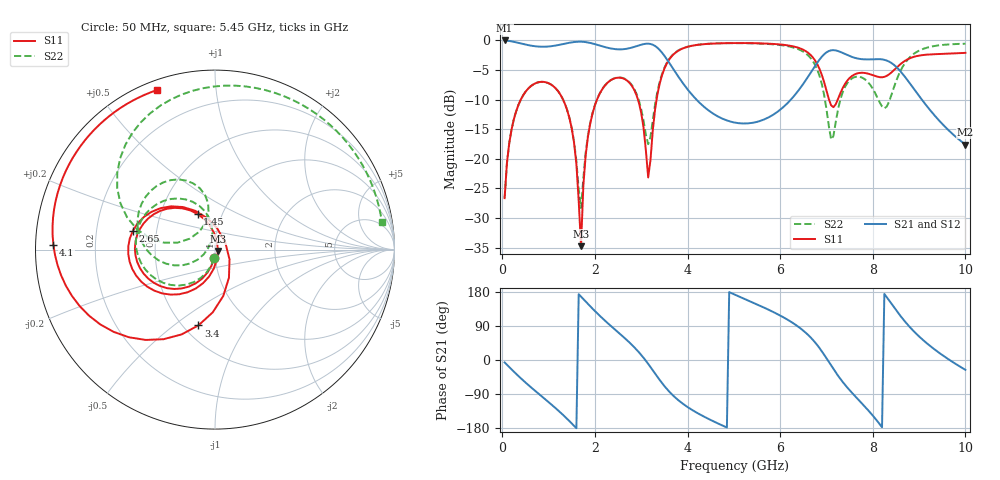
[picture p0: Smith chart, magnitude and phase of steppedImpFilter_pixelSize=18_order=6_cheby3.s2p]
! freq	dB(S11)	phase(S11)	dB(S12)	phase(S12)
!  dB(S21)	phase(S21)	dB(S22)	phase(S22)
!S-par simulation data
#  GHz  S  DB  R 50
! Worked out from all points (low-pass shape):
!   200 points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, 50 MHz to 10 GHz, reference 50 ohm
!   highest |S21| = -0.02 dB at 50 MHz (marker M1); lowest = -17.6 dB at 10 GHz (marker M2)
!   |S21| within 3 dB of the highest: start of sweep to 3.538 GHz; 6.874 GHz to 7.644 GHz (769.8 MHz wide, 10.6 % of centre)
!   lowest |S11| = -34.8 dB at 1.7 GHz (marker M3), VSWR 1.04, Z = 51.7 - j0.764 ohm
!   |S11| at or under -10 dB: start of sweep to 400.1 MHz; 1.311 GHz to 2.047 GHz (735.9 MHz wide, 43.8 % of centre); 2.928 GHz to 3.333 GHz (404.6 MHz wide, 12.9 % of centre) (the widest 3 of 4)
!   |S22| runs from -28.3 to -0.5 dB; largest |S21 - S12| = 0
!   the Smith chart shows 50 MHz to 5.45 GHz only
!   S11 on the Smith chart (normalised r, x): 50 MHz: 0.99, -0.09; 1.45 GHz: 0.77, +0.32; 2.65 GHz: 0.37, +0.10; 3.4 GHz: 0.59, -0.62; 4.1 GHz: 0.05, +0.01; 5.45 GHz: 0.04, +0.70
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0.05  -26.66 -96.2  -0.02 -6.3  -0.02 -6.3  -26.66 -96.8
0.5  -8.70 -146.5  -0.71 -59.3  -0.71 -59.3  -8.71 -153.2
1.45  -13.14 116.0  -0.41 -161.3  -0.41 -161.3  -13.08 104.8
1.7  -34.77 -23.9  -0.23 167.2  -0.23 167.2  -28.35 164.9
1.75  -24.60 -80.7  -0.26 160.7  -0.26 160.7  -23.33 -157.0
2.05  -9.93 -128.7  -0.76 123.1  -0.76 123.1  -9.88 -169.4
2.65  -6.57 167.0  -1.47 57.0  -1.47 57.0  -6.51 127.6
2.95  -10.54 127.0  -0.86 20.4  -0.86 20.4  -10.17 100.4
3.15  -23.16 34.4  -0.56 -10.1  -0.56 -10.1  -17.54 130.5
3.4  -7.29 -102.3  -1.64 -52.9  -1.64 -52.9  -6.97 165.5
4.1  -0.91 178.4  -9.22 -131.9  -9.22 -131.9  -0.90 94.0
5.05  -0.46 128.5  -13.94 171.0  -13.94 171.0  -0.47 32.5
5.45  -0.48 110.0  -13.87 149.6  -13.87 149.6  -0.52 9.2
6.15  -0.83 73.5  -10.68 107.1  -10.68 107.1  -0.97 -36.1
6.7  -2.83 32.2  -4.97 54.1  -4.97 54.1  -3.43 -93.9
7.1  -10.98 25.7  -1.68 -14.4  -1.68 -14.4  -16.74 128.8
7.5  -6.36 43.4  -2.65 -79.7  -2.65 -79.7  -6.75 -22.8
7.95  -5.75 11.1  -3.21 -139.5  -3.21 -139.5  -7.57 -95.0
8.35  -5.76 -4.1  -3.58 157.5  -3.58 157.5  -10.39 126.4
8.6  -4.00 -21.5  -5.25 115.9  -5.25 115.9  -5.13 55.2
9  -2.58 -66.1  -9.39 62.2  -9.39 62.2  -1.74 0.9
10  -2.11 -176.5  -17.60 -25.9  -17.60 -25.9  -0.58 -57.7
